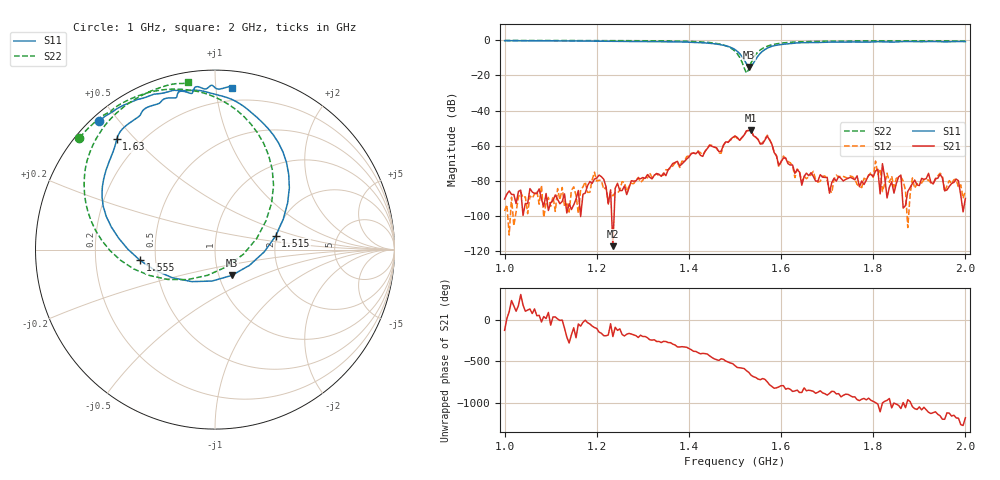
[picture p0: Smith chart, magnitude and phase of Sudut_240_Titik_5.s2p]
# Hz S RI R 50
! CMT, C1220, 16058040, 17.2.0/1
! Date: 14/08/2018 11:50:00
! Data: Format (Calibration Info)
! Freq  S11: Re/Im (F2)  S21: Re/Im (F2)  S12: Re/Im (F2)  S22: Re/Im (F2)
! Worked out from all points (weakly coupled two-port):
!   201 points, 1 GHz to 2 GHz, reference 50 ohm
!   highest |S21| = -51.06 dB at 1.535 GHz (marker M1); lowest = -117.1 dB at 1.235 GHz (marker M2)
!   lowest |S11| = -15.3 dB at 1.53 GHz (marker M3), VSWR 1.41, Z = 57.6 - j17.1 ohm
!   |S11| at or under -10 dB: 1.517 GHz to 1.547 GHz (30.4 MHz wide, 1.98 % of centre)
!   |S22| runs from -18.8 to -0.2 dB; largest |S21 - S12| = 0.00033
!   S11 on the Smith chart (normalised r, x): 1 GHz: 0.02, +0.44; 1.515 GHz: 1.98, +0.34; 1.555 GHz: 0.41, -0.06; 1.63 GHz: 0.12, +0.44; 2 GHz: 0.11, +1.11
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1e9  -0.6478 0.7147  -1.82e-05 -2.45e-05  -5.99e-06 1.26e-05  -0.7554 0.624
1.17e9  -0.4693 0.8216  3.58e-05 -2.12e-05  3.38e-05 -5.84e-05  -0.6184 0.7504
1.235e9  -0.3767 0.8519  -1.3e-06 5.15e-07  -1.84e-05 -3.29e-05  -0.5568 0.7921
1.335e9  -0.2074 0.8861  -2.62e-05 0.000153  2.76e-05 0.000136  -0.4013 0.8659
1.45e9  0.1811 0.7818  -5.86e-05 -0.00096  -0.000157 -0.00101  0.0213 0.8394
1.5e9  0.4143 0.3443  -0.00185 0.000375  -0.00179 0.000382  0.3263 0.3575
1.515e9  0.3383 0.076  -0.00129 0.0011  -0.00135 0.00105  0.2331 0.0631
1.53e9  0.0935 -0.1438  0.000117 0.00269  0.000104 0.00275  -0.0418 -0.1433
1.535e9  -0.016 -0.1751  0.00169 0.00223  0.00164 0.00219  -0.1536 -0.1674
1.555e9  -0.4188 -0.0589  0.00112 -6.51e-06  0.00114 3.8e-05  -0.5262 -0.0595
1.57e9  -0.5772 0.1256  0.00168 -0.000828  0.00176 -0.000927  -0.6644 0.1051
1.595e9  -0.6194 0.3975  1.42e-05 -0.000276  2.2e-05 -0.000247  -0.7286 0.3397
1.605e9  -0.593 0.4819  0.000143 -0.000424  0.00011 -0.000495  -0.727 0.4103
1.63e9  -0.5475 0.6146  -0.000116 -0.000116  -9.56e-05 -7.98e-05  -0.6971 0.5417
1.67e9  -0.4332 0.7342  -0.000102 -8.62e-05  -0.000166 -8.73e-05  -0.6275 0.6719
1.775e9  -0.2268 0.8447  -5.77e-05 8.05e-05  -3.55e-05 5.39e-05  -0.4621 0.8276
1.8e9  -0.2079 0.8702  -2.18e-05 0.000131  -1.38e-05 0.000127  -0.4253 0.8493
1.805e9  -0.2031 0.8773  1.83e-05 0.00019  7.18e-08 0.000365  -0.4183 0.8532
1.815e9  -0.1848 0.8826  3.84e-05 -1.87e-05  0.000207 7.85e-05  -0.4046 0.861
1.82e9  -0.173 0.8812  5.02e-05 0.000305  4.71e-05 1.59e-05  -0.3977 0.8642
1.835e9  -0.1373 0.8708  -4.57e-05 4.77e-05  7.73e-05 4.87e-05  -0.3781 0.8739
2e9  0.0962 0.9021  -4.1e-06 -3.16e-05  -1.43e-06 -5.18e-05  -0.1525 0.9341
